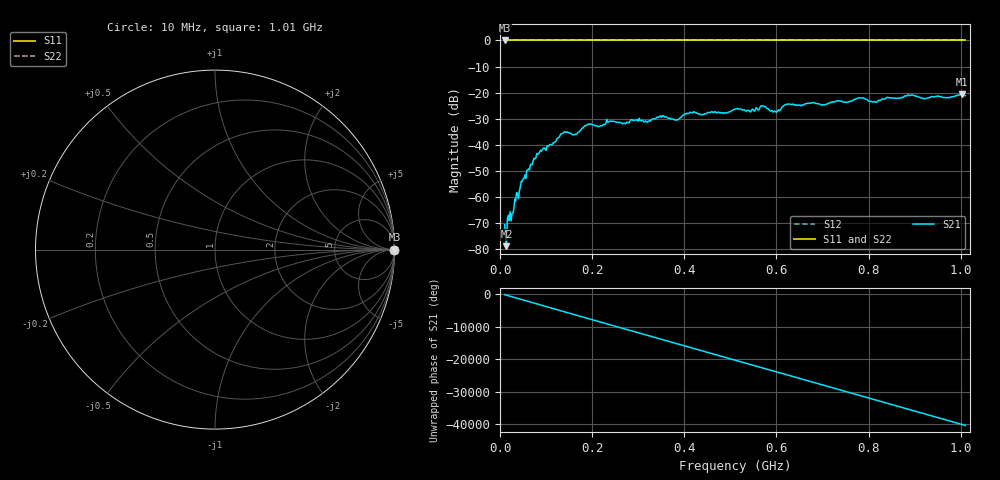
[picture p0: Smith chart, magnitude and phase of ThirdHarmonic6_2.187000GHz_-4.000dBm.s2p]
! 8/17/2025 2:04:35 AM
! C:\ANRITSUVNA\TEMP\TEMP.S2P
! CHANNEL.1
! TR.MEASUREMENT
! RAW.DATA
! RF.CORRECTION.OFF
! AVERAGING.OFF
! IF.BANDWIDTH: 5KHZ
! SWEEPTYPE:  FREQ.SWEEP(Linear)
! Reference Plane Port Info
! PORT:  PORT1  PORT2
! DISTANCE:  0  m  0  m
! TIME:  0  s  0  s
! PHASE.OFFSET:  0  deg.  0  deg.
! LOSS:  0  dB  0  dB
! REF.LOSS:  0  dB  0  dB
! REF.FREQ:  0  Hz  0  Hz
! Power Info
! POWER:  -20  dBm  -20  dBm
! EFF.POWER:  -20  dBm  -20  dBm
! SOURCE.ATTEN:  0  dB  0  dB
! TEST.ATTEN:  0  dB  0  dB
# GHZ S RI R 50.0
! FREQ.GHZ  S11RE  S11IM  S21RE  S21IM  S12RE  S12IM  S22RE  S22IM
!; PortSelection: Port_12
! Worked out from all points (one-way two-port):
!   501 points, 10 MHz to 1.01 GHz, reference 50 ohm
!   highest |S21| = -20.61 dB at 1.002 GHz (marker M1); lowest = -78.9 dB at 14 MHz (marker M2)
!   lowest |S11| = 0.0 dB at 10 MHz (marker M3)
!   |S11| at or under -10 dB: nowhere
!   |S22| runs from 0.0 to 0.0 dB; largest |S21 - S12| = 1.1
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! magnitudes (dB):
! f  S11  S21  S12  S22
! 10 MHz  0.0  -70.6  0.0  0.0
! 14 MHz  0.0  -78.9  0.0  0.0
! 50 MHz  0.0  -53.1  0.0  0.0
! 84 MHz  0.0  -43.5  0.0  0.0
! 136 MHz  0.0  -35.7  0.0  0.0
! 162 MHz  0.0  -36.2  0.0  0.0
! 178 MHz  0.0  -33.6  0.0  0.0
! 236 MHz  0.0  -31.2  0.0  0.0
! 316 MHz  0.0  -30.8  0.0  0.0
! 344 MHz  0.0  -29.5  0.0  0.0
! 384 MHz  0.0  -30.4  0.0  0.0
! 416 MHz  0.0  -27.8  0.0  0.0
! 510 MHz  0.0  -26.4  0.0  0.0
! 570 MHz  0.0  -25.1  0.0  0.0
! 596 MHz  0.0  -27.1  0.0  0.0
! 622 MHz  0.0  -24.5  0.0  0.0
! 678 MHz  0.0  -23.9  0.0  0.0
! 782 MHz  0.0  -22.1  0.0  0.0
! 814 MHz  0.0  -23.4  0.0  0.0
! 844 MHz  0.0  -22.0  0.0  0.0
! 1.002 GHz  0.0  -20.6  0.0  0.0
! 1.01 GHz  0.0  -21.2  0.0  0.0
